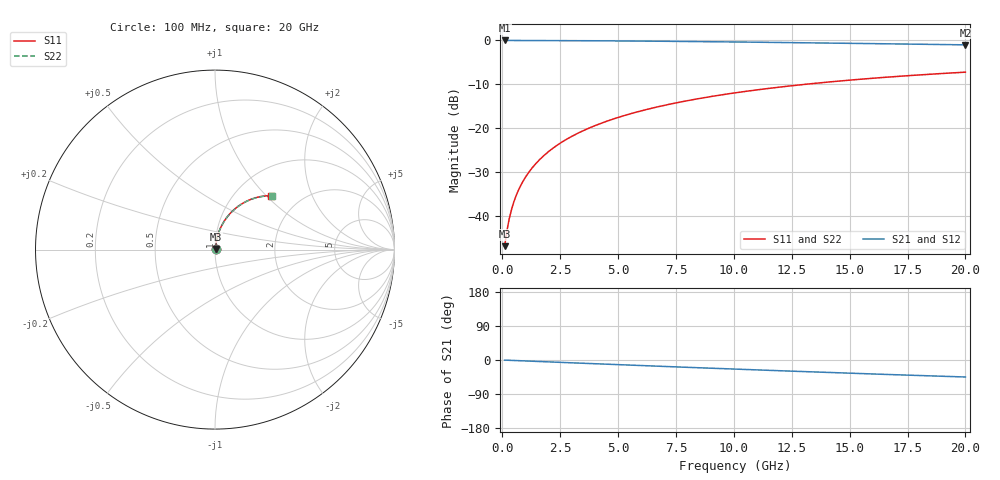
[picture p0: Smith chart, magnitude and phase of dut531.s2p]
! Touchstone file exported from HFSS 2026.1.0
!  File:  C:/ffzhzh/LocalFiles/Ansys_Project_Files/temp_train_BSMRDL_531_1783014754_4048.aedt
!  Generated:  01:53:55 AM Jul  3, 2026
!  Design:  BSMRDL
!  Project:  temp_train_BSMRDL_531_1783014754_4048
! Variables:
!  h_bsmrdl = 3.63um
!  h_ox = 20um
!  h_rdl = 5um
!  h_sub = 80um
!  h_tmrdl = 5um
!  h_tsv = 80um
!  h_via = 3um
!  l_bsmrdl = 642.33um
!  l_sub = 1042.33um
!  l_tmrdl = 200um
!  m_sub = 200um
!  pitch = 47.82um
!  r_tsv = 6um
!  s_tmrdl = 10um
!  w_bsmrdl = 18.42um
!  w_sub = 500um
!  w_tmrdl = 12um
!  x_tsv_center1 = 206um
!  x_tsv_center2 = 866.75um
!  x_tsv_center3 = 1078.75um
!  x_tsv_center4 = 1739.5um
!  x_tsv_center5 = 1951.5um
!  x_tsv_center6 = 2612.25um
# GHz S MA R 50.000000
! Terminal data exported
! Port[1] = BSM_RDL1_1_T1
! Port[2] = BSM_RDL1_1_T2
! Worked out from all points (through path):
!   200 points, 100 MHz to 20 GHz, reference 50 ohm
!   highest |S21| = -0.03 dB at 100 MHz (marker M1); lowest = -1.0 dB at 20 GHz (marker M2)
!   group delay of S21, straight-line fit = 6.24 ps
!   lowest |S11| = -46.8 dB at 100 MHz (marker M3), VSWR 1.01, Z = 50.4 + j0.293 ohm
!   |S11| at or under -10 dB: start of sweep to 13.06 GHz
!   |S22| runs from -46.8 to -7.2 dB; largest |S21 - S12| = 4e-15
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0.1  0.004597 39.3  0.9965 -0.3  0.9965 -0.3  0.004597 39.3
! Gamma 0 0 0 0
! Port Impedance 50 0 50 0
0.2  0.006864 57.2  0.9963 -0.5  0.9963 -0.5  0.006864 57.2
0.3  0.009415 65.4  0.9962 -0.8  0.9962 -0.8  0.009416 65.4
0.4  0.01203 69.8  0.996 -1.0  0.996 -1.0  0.01203 69.8
0.5  0.01465 72.6  0.9958 -1.3  0.9958 -1.3  0.01465 72.6
0.6  0.01728 74.6  0.9957 -1.5  0.9957 -1.5  0.01729 74.6
0.8  0.02257 77.0  0.9955 -2.0  0.9955 -2.0  0.02257 77.0
1.1  0.03053 78.9  0.9951 -2.7  0.9951 -2.7  0.03054 78.9
1.5  0.04121 79.9  0.9946 -3.7  0.9946 -3.7  0.04121 79.8
1.8  0.04923 80.0  0.9941 -4.5  0.9941 -4.5  0.04923 80.0
2.1  0.05724 79.9  0.9936 -5.2  0.9936 -5.2  0.05724 79.9
2.7  0.07321 79.3  0.9923 -6.7  0.9923 -6.7  0.07321 79.3
3.5  0.09431 78.0  0.99 -8.6  0.99 -8.6  0.09431 78.0
4.2  0.1125 76.6  0.9877 -10.3  0.9877 -10.3  0.1125 76.6
5  0.1331 75.0  0.9847 -12.3  0.9847 -12.3  0.1331 74.9
5.9  0.1557 73.0  0.9808 -14.4  0.9808 -14.4  0.1557 73.0
6.8  0.1778 71.0  0.9765 -16.6  0.9765 -16.6  0.1778 71.0
8.3  0.2135 67.7  0.9684 -20.0  0.9684 -20.0  0.2135 67.6
10.1  0.2543 63.8  0.9577 -24.1  0.9577 -24.1  0.2543 63.7
13.4  0.3228 56.8  0.9358 -31.4  0.9358 -31.4  0.3228 56.6
16.7  0.3831 50.1  0.9123 -38.3  0.9123 -38.3  0.3831 49.9
20  0.435 43.7  0.8886 -44.9  0.8886 -44.9  0.435 43.5
